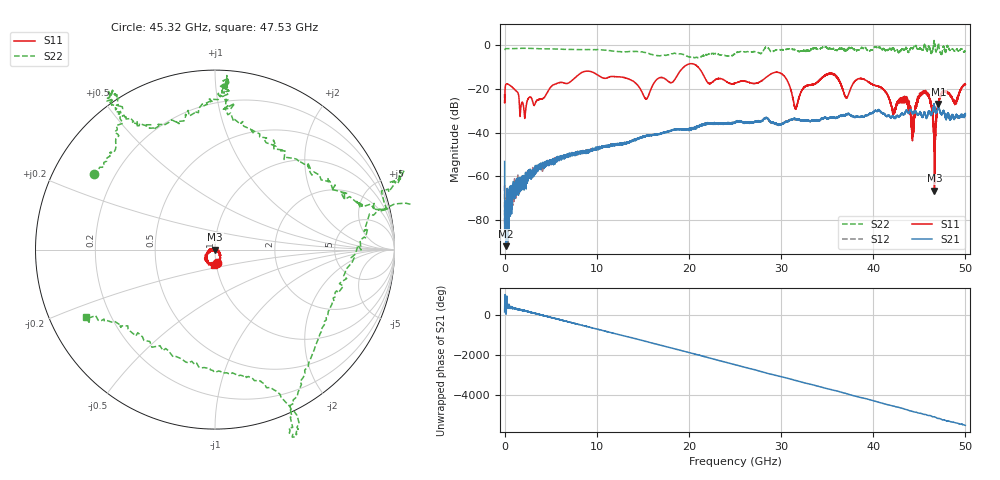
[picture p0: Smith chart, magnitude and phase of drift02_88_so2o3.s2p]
!Created with skrf (http://scikit-rf.org).
# Hz S RI R 50.0
!freq ReS11 ImS11 ReS21 ImS21 ReS12 ImS12 ReS22 ImS22
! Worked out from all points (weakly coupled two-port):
!   10001 points, 300 kHz to 50 GHz, reference 50 ohm
!   highest |S21| = -26.85 dB at 47.08 GHz (marker M1); lowest = -92.2 dB at 150.3 MHz (marker M2)
!   lowest |S11| = -66.7 dB at 46.64 GHz (marker M3), VSWR 1.00, Z = 50 + j0.0434 ohm
!   |S11| at or under -10 dB: start of sweep to 19.43 GHz; 21.0048 GHz to 21.00614 GHz (1.338 MHz wide, 0.00637 % of centre); 21.01 GHz to end of sweep
!   |S22| runs from -5.7 to 2.3 dB; largest |S21 - S12| = 0.0039
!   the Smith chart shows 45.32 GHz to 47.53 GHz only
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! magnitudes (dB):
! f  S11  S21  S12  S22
! 300 kHz  -22.7  -53.3  -64.4  -2.1
! 150.3 MHz  -17.8  -92.2  -84.7  -1.5
! 2.19 GHz  -33.5  -61.2  -61.2  -1.3
! 8.335 GHz  -12.5  -49.4  -49.3  -1.9
! 13.48 GHz  -15.4  -44.4  -44.6  -2.8
! 15.34 GHz  -24.6  -41.6  -41.5  -3.3
! 16.67 GHz  -15.1  -40.6  -40.6  -4.7
! 20.3 GHz  -8.4  -38.3  -38.2  -5.5
! 25 GHz  -17.4  -35.3  -35.5  -3.9
! 29.83 GHz  -12.5  -36.6  -36.4  -2.0
! 31.6 GHz  -28.9  -33.9  -33.9  -2.5
! 33.34 GHz  -18.0  -34.4  -34.5  -1.6
! 35.61 GHz  -13.1  -33.3  -33.2  -1.5
! 37.1 GHz  -24.1  -31.8  -31.7  -2.3
! 38.75 GHz  -15.3  -32.6  -32.7  -1.0
! 41.67 GHz  -23.7  -32.0  -32.1  -2.0
! 43.56 GHz  -25.8  -30.5  -29.9  -1.1
! 44.29 GHz  -40.5  -31.2  -31.2  -1.5
! 45.7 GHz  -21.6  -32.5  -32.7  -0.9
! 46.64 GHz  -66.7  -27.9  -27.5  1.5
! 47.08 GHz  -26.3  -26.8  -27.1  1.0
! 50 GHz  -17.9  -31.9  -31.5  -2.7
